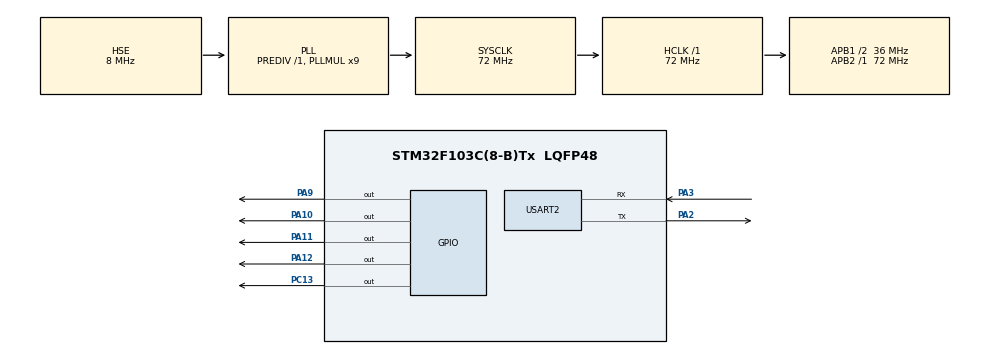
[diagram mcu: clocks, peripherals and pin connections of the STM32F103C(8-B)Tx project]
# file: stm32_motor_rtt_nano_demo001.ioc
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Mcu.Family=STM32F1
Mcu.Name=STM32F103C(8-B)Tx
Mcu.Package=LQFP48
NVIC.PriorityGroup=NVIC_PRIORITYGROUP_4
PA10.Signal=GPIO_Output
PA11.Signal=GPIO_Output
PA12.Signal=GPIO_Output
PA13.Mode=Serial_Wire
PA13.Signal=SYS_JTMS-SWDIO
PA14.Mode=Serial_Wire
PA14.Signal=SYS_JTCK-SWCLK
PA2.Mode=Asynchronous
PA2.Signal=USART2_TX
PA3.Mode=Asynchronous
PA3.Signal=USART2_RX
PA9.Signal=GPIO_Output
PC13-TAMPER-RTC.Signal=GPIO_Output
PD0-OSC_IN.Mode=HSE-External-Oscillator
PD0-OSC_IN.Signal=RCC_OSC_IN
PD1-OSC_OUT.Mode=HSE-External-Oscillator
PD1-OSC_OUT.Signal=RCC_OSC_OUT
ProjectManager.HeapSize=0x200
ProjectManager.StackSize=0x400
ProjectManager.TargetToolchain=Makefile
RCC.AHBFreq_Value=72000000
RCC.APB1CLKDivider=RCC_HCLK_DIV2
RCC.APB1Freq_Value=36000000
RCC.APB1TimFreq_Value=72000000
RCC.APB2Freq_Value=72000000
RCC.APB2TimFreq_Value=72000000
RCC.HCLKFreq_Value=72000000
RCC.PLLMUL=RCC_PLL_MUL9
RCC.PLLSourceVirtual=RCC_PLLSOURCE_HSE
RCC.SYSCLKFreq_VALUE=72000000
RCC.SYSCLKSource=RCC_SYSCLKSOURCE_PLLCLK
RCC.USBFreq_Value=72000000
USART2.VirtualMode=VM_ASYNC
board=custom

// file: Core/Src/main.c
/* USER CODE BEGIN Header */
/**
  ******************************************************************************
  * @file           : main.c
  * @brief          : Main program body
  ******************************************************************************
  * @attention
  *
  * Copyright (c) 2024 STMicroelectronics.
  * All rights reserved.
  *
  * This software is licensed under terms that can be found in the LICENSE file
  * in the root directory of this software component.
  * If no LICENSE file comes with this software, it is provided AS-IS.
  *
  ******************************************************************************
  */
/* USER CODE END Header */
#include "main.h"
#include "usart.h"
#include "gpio.h"

/* USER CODE BEGIN Includes */
//HardFault_Handler()
//PendSV_Handler()
#include "stm32f1xx_hal_uart.h"
#include <rtthread.h>
#include "motor.h"
#include "thread_creat.h"

/* USER CODE END Includes */

/* USER CODE BEGIN PD */
#define GPIOA_9 9
#define GPIOA_10 10
#define GPIOA_11 11
#define GPIOA_12 12
#define time 1
#define round_num 510// 510 ~ 1 round
/* USER CODE END PD */

void SystemClock_Config(void);

int main(void)
{

  /* MCU Configuration--------------------------------------------------------*/

  /* Reset of all peripherals, Initializes the Flash interface and the Systick. */
  HAL_Init();

  /* Configure the system clock */
  SystemClock_Config();

  /* Initialize all configured peripherals */
  MX_GPIO_Init();
  MX_USART2_UART_Init();

  /* Infinite loop */
  /* USER CODE BEGIN WHILE */
	motor(360,1,1);

}
    /* USER CODE END WHILE */

void SystemClock_Config(void)
{
  RCC_OscInitTypeDef RCC_OscInitStruct = {0};
  RCC_ClkInitTypeDef RCC_ClkInitStruct = {0};

  /** Initializes the RCC Oscillators according to the specified parameters
  * in the RCC_OscInitTypeDef structure.
  */
  RCC_OscInitStruct.OscillatorType = RCC_OSCILLATORTYPE_HSE;
  RCC_OscInitStruct.HSEState = RCC_HSE_ON;
  RCC_OscInitStruct.HSEPredivValue = RCC_HSE_PREDIV_DIV1;
  RCC_OscInitStruct.HSIState = RCC_HSI_ON;
  RCC_OscInitStruct.PLL.PLLState = RCC_PLL_ON;
  RCC_OscInitStruct.PLL.PLLSource = RCC_PLLSOURCE_HSE;
  RCC_OscInitStruct.PLL.PLLMUL = RCC_PLL_MUL9;
  if (HAL_RCC_OscConfig(&RCC_OscInitStruct) != HAL_OK)
  {
    Error_Handler();
  }

  /** Initializes the CPU, AHB and APB buses clocks
  */
  RCC_ClkInitStruct.ClockType = RCC_CLOCKTYPE_HCLK|RCC_CLOCKTYPE_SYSCLK
                              |RCC_CLOCKTYPE_PCLK1|RCC_CLOCKTYPE_PCLK2;
  RCC_ClkInitStruct.SYSCLKSource = RCC_SYSCLKSOURCE_PLLCLK;
  RCC_ClkInitStruct.AHBCLKDivider = RCC_SYSCLK_DIV1;
  RCC_ClkInitStruct.APB1CLKDivider = RCC_HCLK_DIV2;
  RCC_ClkInitStruct.APB2CLKDivider = RCC_HCLK_DIV1;

  if (HAL_RCC_ClockConfig(&RCC_ClkInitStruct, FLASH_LATENCY_2) != HAL_OK)
  {
    Error_Handler();
  }
}

/* USER CODE BEGIN 4 */
void rt_hw_console_output(const char *str)
{
    rt_size_t i = 0, size = 0;
    char a = '\r';

    __HAL_UNLOCK(&huart2);

    size = rt_strlen(str);
    for (i = 0; i < size; i++)
    {
        if (*(str + i) == '\n')
        {
            HAL_UART_Transmit(&huart2, (uint8_t *)&a, 1, 1);
        }
        HAL_UART_Transmit(&huart2, (uint8_t *)(str + i), 1, 1);
    }
}

char rt_hw_console_getchar(void)
{
    int ch = -1;

    if (__HAL_UART_GET_FLAG(&huart2, UART_FLAG_RXNE) != RESET)
    {
        ch = huart2.Instance->DR & 0xff;
    }
    else
    {
        if(__HAL_UART_GET_FLAG(&huart2, UART_FLAG_ORE) != RESET)
        {
            __HAL_UART_CLEAR_OREFLAG(&huart2);
        }
        rt_thread_mdelay(10);
    }
    return ch;
}

/* USER CODE END 4 */

void Error_Handler(void)
{
  __disable_irq();
  while (1)
  {
  }
}
